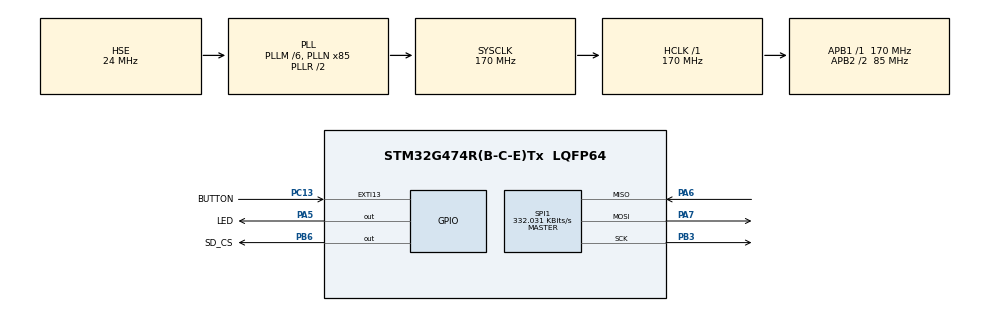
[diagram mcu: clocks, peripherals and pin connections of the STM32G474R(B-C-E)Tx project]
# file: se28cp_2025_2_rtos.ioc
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Dma.Request0=SPI1_RX
Dma.Request1=SPI1_TX
Dma.SPI1_RX.0.Direction=DMA_PERIPH_TO_MEMORY
Dma.SPI1_RX.0.EventEnable=DISABLE
Dma.SPI1_RX.0.Instance=DMA1_Channel1
Dma.SPI1_RX.0.MemDataAlignment=DMA_MDATAALIGN_BYTE
Dma.SPI1_RX.0.MemInc=DMA_MINC_ENABLE
Dma.SPI1_RX.0.Mode=DMA_NORMAL
Dma.SPI1_RX.0.PeriphDataAlignment=DMA_PDATAALIGN_BYTE
Dma.SPI1_RX.0.PeriphInc=DMA_PINC_DISABLE
Dma.SPI1_RX.0.Polarity=HAL_DMAMUX_REQ_GEN_RISING
Dma.SPI1_RX.0.Priority=DMA_PRIORITY_LOW
Dma.SPI1_RX.0.RequestNumber=1
Dma.SPI1_RX.0.SignalID=NONE
Dma.SPI1_RX.0.SyncEnable=DISABLE
Dma.SPI1_RX.0.SyncPolarity=HAL_DMAMUX_SYNC_NO_EVENT
Dma.SPI1_RX.0.SyncRequestNumber=1
Dma.SPI1_RX.0.SyncSignalID=NONE
Dma.SPI1_TX.1.Direction=DMA_MEMORY_TO_PERIPH
Dma.SPI1_TX.1.EventEnable=DISABLE
Dma.SPI1_TX.1.Instance=DMA1_Channel2
Dma.SPI1_TX.1.MemDataAlignment=DMA_MDATAALIGN_BYTE
Dma.SPI1_TX.1.MemInc=DMA_MINC_ENABLE
Dma.SPI1_TX.1.Mode=DMA_NORMAL
Dma.SPI1_TX.1.PeriphDataAlignment=DMA_PDATAALIGN_BYTE
Dma.SPI1_TX.1.PeriphInc=DMA_PINC_DISABLE
Dma.SPI1_TX.1.Polarity=HAL_DMAMUX_REQ_GEN_RISING
Dma.SPI1_TX.1.Priority=DMA_PRIORITY_LOW
Dma.SPI1_TX.1.RequestNumber=1
Dma.SPI1_TX.1.SignalID=NONE
Dma.SPI1_TX.1.SyncEnable=DISABLE
Dma.SPI1_TX.1.SyncPolarity=HAL_DMAMUX_SYNC_NO_EVENT
Dma.SPI1_TX.1.SyncRequestNumber=1
Dma.SPI1_TX.1.SyncSignalID=NONE
FREERTOS.INCLUDE_vTaskDelayUntil=1
FREERTOS.Tasks01=defaultTask,0,128,StartDefaultTask,Default,NULL,Dynamic,NULL,NULL
FREERTOS.configENABLE_FPU=1
FREERTOS.configGENERATE_RUN_TIME_STATS=1
FREERTOS.configMAX_PRIORITIES=32
FREERTOS.configTOTAL_HEAP_SIZE=32768
FREERTOS.configUSE_COUNTING_SEMAPHORES=1
FREERTOS.configUSE_NEWLIB_REENTRANT=1
FREERTOS.configUSE_STATS_FORMATTING_FUNCTIONS=1
FREERTOS.configUSE_TIMERS=1
FREERTOS.configUSE_TRACE_FACILITY=1
Mcu.Family=STM32G4
Mcu.Name=STM32G474R(B-C-E)Tx
Mcu.Package=LQFP64
NVIC.DMA1_Channel1_IRQn=true\:5\:0\:false\:false\:true\:true\:false\:true\:true
NVIC.DMA1_Channel2_IRQn=true\:5\:0\:false\:false\:true\:true\:false\:true\:true
NVIC.EXTI15_10_IRQn=true\:5\:0\:false\:false\:true\:true\:true\:true\:true
NVIC.PriorityGroup=NVIC_PRIORITYGROUP_4
NVIC.TIM20_UP_IRQn=true\:15\:0\:false\:false\:true\:false\:false\:true\:true
NVIC.TIM2_IRQn=true\:5\:0\:false\:false\:true\:true\:true\:true\:true
NVIC.TimeBase=TIM20_UP_IRQn
NVIC.TimeBaseIP=TIM20
PA13.Mode=Serial_Wire
PA13.Signal=SYS_JTMS-SWDIO
PA14.Mode=Serial_Wire
PA14.Signal=SYS_JTCK-SWCLK
PA5.GPIO_Label=LED
PA5.Signal=GPIO_Output
PA6.GPIO_PuPd=GPIO_PULLUP
PA6.Mode=Full_Duplex_Master
PA6.Signal=SPI1_MISO
PA7.GPIO_PuPd=GPIO_PULLUP
PA7.Mode=Full_Duplex_Master
PA7.Signal=SPI1_MOSI
PB3.GPIO_PuPd=GPIO_PULLUP
PB3.Mode=Full_Duplex_Master
PB3.Signal=SPI1_SCK
PB6.GPIO_Label=SD_CS
PB6.GPIO_PuPd=GPIO_PULLUP
PB6.Signal=GPIO_Output
PC13.GPIO_Label=BUTTON
PC13.GPIO_ModeDefaultEXTI=GPIO_MODE_IT_RISING
PC13.GPIO_PuPd=GPIO_PULLDOWN
PC13.Signal=GPXTI13
PF0-OSC_IN.Mode=HSE-External-Oscillator
PF0-OSC_IN.Signal=RCC_OSC_IN
PF1-OSC_OUT.Mode=HSE-External-Oscillator
PF1-OSC_OUT.Signal=RCC_OSC_OUT
ProjectManager.HeapSize=0x200
ProjectManager.StackSize=0x400
ProjectManager.TargetToolchain=STM32CubeIDE
RCC.ADC12Freq_Value=170000000
RCC.ADC345Freq_Value=170000000
RCC.AHBFreq_Value=170000000
RCC.APB1Freq_Value=170000000
RCC.APB1TimFreq_Value=170000000
RCC.APB2CLKDivider=RCC_HCLK_DIV2
RCC.APB2Freq_Value=85000000
RCC.APB2TimFreq_Value=170000000
RCC.CortexFreq_Value=170000000
RCC.EXTERNAL_CLOCK_VALUE=12288000
RCC.HCLKFreq_Value=170000000
RCC.HSE_VALUE=24000000
RCC.HSI48_VALUE=48000000
RCC.HSI_VALUE=16000000
RCC.LSE_VALUE=32768
RCC.PLLM=RCC_PLLM_DIV6
RCC.PLLN=85
RCC.PLLSourceVirtual=RCC_PLLSOURCE_HSE
RCC.SYSCLKFreq_VALUE=170000000
RCC.SYSCLKSource=RCC_SYSCLKSOURCE_PLLCLK
RCC.USBFreq_Value=170000000
RCC.VCOOutputFreq_Value=340000000
SPI1.BaudRatePrescaler=SPI_BAUDRATEPRESCALER_256
SPI1.CalculateBaudRate=332.031 KBits/s
SPI1.DataSize=SPI_DATASIZE_8BIT
SPI1.Direction=SPI_DIRECTION_2LINES
SPI1.Mode=SPI_MODE_MASTER
SPI1.VirtualType=VM_MASTER
TIM2.AutoReloadPreload=TIM_AUTORELOAD_PRELOAD_ENABLE
TIM2.PeriodNoDither=16999
VP_FATFS_VS_Generic.Mode=User_defined
VP_FREERTOS_VS_CMSIS_V1.Mode=CMSIS_V1
VP_SYS_VS_DBSignals.Mode=DisableDeadBatterySignals
VP_SYS_VS_tim20.Mode=TIM20
VP_TIM2_VS_ClockSourceINT.Mode=Internal
board=custom

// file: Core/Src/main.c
/* USER CODE BEGIN Header */
/**
  ******************************************************************************
  * @file           : main.c
  * @brief          : Main program body
  ******************************************************************************
  * @attention
  *
  * Copyright (c) 2025 STMicroelectronics.
  * All rights reserved.
  *
  * This software is licensed under terms that can be found in the LICENSE file
  * in the root directory of this software component.
  * If no LICENSE file comes with this software, it is provided AS-IS.
  *
  ******************************************************************************
  */
/* USER CODE END Header */
#include "main.h"
#include "cmsis_os.h"
#include "app_fatfs.h"

/* USER CODE BEGIN Includes */
#include <string.h>
#include "FreeRTOS_CLI.h"
#include "FreeRTOS_IO.h"
/* USER CODE END Includes */

SPI_HandleTypeDef hspi1;
DMA_HandleTypeDef hdma_spi1_rx;
DMA_HandleTypeDef hdma_spi1_tx;

TIM_HandleTypeDef htim2;

osThreadId defaultTaskHandle;
/* USER CODE BEGIN PV */
volatile uint32_t counter = 0;
SemaphoreHandle_t sem = NULL;
//SemaphoreHandle_t sem_rx = NULL;
QueueHandle_t queue_rx;
QueueHandle_t queue_keyb;
SemaphoreHandle_t mutex = NULL;
TimerHandle_t debounce;
/* USER CODE END PV */

void SystemClock_Config(void);
static void MX_GPIO_Init(void);
static void MX_DMA_Init(void);
static void MX_SPI1_Init(void);
static void MX_TIM2_Init(void);
void StartDefaultTask(void const * argument);

/* USER CODE BEGIN 0 */
typedef struct led_t_ {
	GPIO_TypeDef 	*led_port;
	uint16_t 		led_pin;
	TickType_t 		led_toggle_time;
}led_t;

void pisca_led(void *param){
	led_t *led = (led_t *)param;
	TickType_t timer;
	while(1){
		timer = xTaskGetTickCount();
		HAL_GPIO_TogglePin(led->led_port, led->led_pin);
		vTaskDelayUntil(&timer,led->led_toggle_time);
	}
}

#if 0
void HAL_UART_TxCpltCallback(UART_HandleTypeDef *huart){
	BaseType_t pxHigherPriorityTaskWoken = pdFALSE;
	xSemaphoreGiveFromISR(sem, &pxHigherPriorityTaskWoken);
	portYIELD_FROM_ISR(pxHigherPriorityTaskWoken);
}
#endif

volatile uint32_t cnt1 = 0;
void envia_serial_1(void *param){
	char *texto = "Olá mundo da tarefa 1!\n\r";
	uint32_t len = strlen(texto);
	while(1){
		if (xSemaphoreTake(mutex, 100) == pdTRUE){
			if (HAL_UART_Transmit_IT(&hlpuart1, (uint8_t *)texto, len) == HAL_OK){
				xSemaphoreTake(sem, portMAX_DELAY);
				cnt1++;
			}
			xSemaphoreGive(mutex);
		}
		taskYIELD();
	}
}

volatile uint32_t cnt2 = 0;
void envia_serial_2(void *param){
	char *texto = "Olá mundo da tarefa 2!\n\r";
	uint32_t len = strlen(texto);
	while(1){
		if (xSemaphoreTake(mutex, 100) == pdTRUE){
			if (HAL_UART_Transmit_IT(&hlpuart1, (uint8_t *)texto, len) == HAL_OK){
				xSemaphoreTake(sem, portMAX_DELAY);
				cnt2++;
			}
			xSemaphoreGive(mutex);
		}
		taskYIELD();
	}
}

void transmite_uart(uint8_t *string, uint32_t len){
	if (xSemaphoreTake(mutex, 100) == pdTRUE){
		if (HAL_UART_Transmit_IT(&hlpuart1, string, len) == HAL_OK){
			xSemaphoreTake(sem, portMAX_DELAY);
		}
		xSemaphoreGive(mutex);
	}
}

#if 0
void HAL_UART_RxCpltCallback(UART_HandleTypeDef *huart){
	BaseType_t pxHigherPriorityTaskWoken = pdFALSE;
	xQueueSendToBackFromISR(queue_rx, huart->pRxBuffPtr, &pxHigherPriorityTaskWoken);
	portYIELD_FROM_ISR(pxHigherPriorityTaskWoken);
}
#endif

void receive_uart(uint8_t *data){
	xQueueReceive(queue_rx, data, portMAX_DELAY);
}

static BaseType_t prvTaskStatsCommand( char *pcWriteBuffer,
                                          size_t xWriteBufferLen,
										  const char *pcCommandString )
{
    static BaseType_t state = 0;

    if (!state){
        /* For simplicity, this function assumes the output buffer is large enough
        to hold all the text generated by executing the vTaskList() API function,
        so the xWriteBufferLen parameter is not used. */
        char *head = "Name		State  Priority  Stack  Number\n\r";
        ( void ) xWriteBufferLen;

        /* pcWriteBuffer is used directly as the vTaskList() parameter, so the table
        generated by executing vTaskList() is written directly into the output
        buffer. */
        strcpy(pcWriteBuffer, head);
        vTaskList( &pcWriteBuffer[strlen(head)]);

        /* The entire table was written directly to the output buffer.  Execution
        of this command is complete, so return pdFALSE. */
        state = 1;
        return pdTRUE;
    }else{
        state = 0;
        strcpy(pcWriteBuffer, "\n\r");
        return pdFALSE;
    }
}

static BaseType_t prvClearCommand( char *pcWriteBuffer,
                                          size_t xWriteBufferLen,
										  const char *pcCommandString )
{

	strcpy(pcWriteBuffer, "\033c");
	return false;

}

static const CLI_Command_Definition_t xClearCommand =
{
    "clear",
	"clear: Clear the console terminal\r\n\r\n",
	prvClearCommand,
    0
};

static const CLI_Command_Definition_t xTasksCommand =
{
    "tasks",
	"tasks: Lists all the installed tasks\r\n\r\n",
	prvTaskStatsCommand,
    0
};

static BaseType_t prvRunTimeStatsCommand( char *pcWriteBuffer,
                                          size_t xWriteBufferLen,
										  const char *pcCommandString )
{
    /* For simplicity, this function assumes the output buffer is large enough
    to hold all the text generated by executing the vTaskList() API function,
    so the xWriteBufferLen parameter is not used. */
	char *head = "Name		Abs Time      % Time\n\r";
    ( void ) xWriteBufferLen;

    /* pcWriteBuffer is used directly as the vTaskList() parameter, so the table
    generated by executing vTaskList() is written directly into the output
    buffer. */
    strcpy(pcWriteBuffer, head);
    vTaskGetRunTimeStats( &pcWriteBuffer[strlen(head)]);

    /* The entire table was written directly to the output buffer.  Execution
    of this command is complete, so return pdFALSE. */
    return pdFALSE;
}

static const CLI_Command_Definition_t xRunTimeCommand =
{
    "runtime",
	"runtime: Lists the tasks runtime info\r\n\r\n",
	prvRunTimeStatsCommand,
    0
};

#define MAX_INPUT_LENGTH    64
#define MAX_OUTPUT_LENGTH   512
Peripheral_Descriptor_t console_port;
static void shell_task(void *param){
	char cRxedChar;
	BaseType_t cInputIndex = 0;
	BaseType_t xMoreDataToFollow;
	/* The input and output buffers are declared static to keep them off the stack. */
	static char pcOutputString[ MAX_OUTPUT_LENGTH ], pcInputString[ MAX_INPUT_LENGTH ];

	console_port = FreeRTOS_open((const int8_t *)"/LPUART1/", 0);
	uint32_t ulBaudRate = 115200;
	FreeRTOS_ioctl(console_port, ioctlSET_SPEED, &ulBaudRate);
	uint32_t ulParity = UART_PARITY_NONE;
	FreeRTOS_ioctl(console_port, ioctlSET_UART_PARITY_MODE, &ulParity);
	uint32_t ulStopBits = UART_STOPBITS_1;
	FreeRTOS_ioctl(console_port, ioctlSET_UART_NUMBER_OF_STOP_BITS, &ulStopBits);

	FreeRTOS_CLIRegisterCommand( &xTasksCommand );
	FreeRTOS_CLIRegisterCommand( &xRunTimeCommand );
	FreeRTOS_CLIRegisterCommand( &xClearCommand );
	FreeRTOS_write(console_port, "\033cWelcome to FreeRTOS ", 20);
	FreeRTOS_write(console_port, tskKERNEL_VERSION_NUMBER, 7);
	FreeRTOS_write(console_port, "\n\r", 2);
	FreeRTOS_write(console_port, ">>", 2);

	while(1){
			/* This implementation reads a single character at a time.  Wait in the
	        Blocked state until a character is received. */
			FreeRTOS_read(console_port, &cRxedChar, 1);

	        if( cRxedChar == '\r' )
	        {
	            /* A newline character was received, so the input command string is
	            complete and can be processed.  Transmit a line separator, just to
	            make the output easier to read. */
	        	FreeRTOS_write(console_port, "\n\r", 2);

	            /* The command interpreter is called repeatedly until it returns
	            pdFALSE.  See the "Implementing a command" documentation for an
	            exaplanation of why this is. */
	        	if( cInputIndex > 0 ){
					do
					{
						/* Send the command string to the command interpreter.  Any
						output generated by the command interpreter will be placed in the
						pcOutputString buffer. */
						xMoreDataToFollow = FreeRTOS_CLIProcessCommand
									  (
										  pcInputString,   /* The command string.*/
										  pcOutputString,  /* The output buffer. */
										  MAX_OUTPUT_LENGTH/* The size of the output buffer. */
									  );

						/* Write the output generated by the command interpreter to the
						console. */
						FreeRTOS_write(console_port, pcOutputString, 0);

					} while( xMoreDataToFollow != pdFALSE );
					FreeRTOS_write(console_port, ">>", 2);

					/* All the strings generated by the input command have been sent.
					Processing of the command is complete.  Clear the input string ready
					to receive the next command. */
					cInputIndex = 0;
					memset( pcInputString, 0x00, MAX_INPUT_LENGTH );
	        	}else{
	        		FreeRTOS_write(console_port, ">>", 2);
	        	}
	        }
	        else
	        {
	            /* The if() clause performs the processing after a newline character
	            is received.  This else clause performs the processing if any other
	            character is received. */

	            if( cRxedChar == '\n' )
	            {
	                /* Ignore carriage returns. */
	            }
	            //else if( cRxedChar == '\b' )
	            else if( cRxedChar == 0x7F )
	            {
	                /* Backspace was pressed.  Erase the last character in the input
	                buffer - if there are any. */
	                if( cInputIndex > 0 )
	                {
	                    cInputIndex--;
	                    pcInputString[ cInputIndex ] = (char)'\0';
	                    FreeRTOS_write(console_port, &cRxedChar, 1);
	                }
	            }
	            else
	            {
	                /* A character was entered.  It was not a new line, backspace
	                or carriage return, so it is accepted as part of the input and
	                placed into the input buffer.  When a \n is entered the complete
	                string will be passed to the command interpreter. */
	                if( cInputIndex < MAX_INPUT_LENGTH )
	                {
	                    pcInputString[ cInputIndex ] = cRxedChar;
	                    cInputIndex++;
	                }
	                FreeRTOS_write(console_port, &cRxedChar, 1);
	            }
	        }
	}
}

#if 1
void read_file(FATFS *fs, char *filename){
	uint32_t  p1, p2, s2;
	uint16_t  cnt = 0;
	// Read/Write Buffer
	uint8_t   	read_buffer[512];
	char 		print_buffer[128];
	FIL file;

	if (f_open(&file, (char*)filename, 	FA_READ) == FR_OK)
	{
		FreeRTOS_write(console_port, "\n\r", 2);

		p2 = 0;
		TickType_t start = xTaskGetTickCount();
		p1 = f_size(&file);

		while (p1)
		{
			if (p1 >= sizeof(read_buffer))
			{
			  cnt = sizeof(read_buffer);
			  p1 -= sizeof(read_buffer);
			}
			else
			{
			  cnt = (uint16_t)p1;
			  p1 = 0;
			}
			if (f_read(&file, (char*)read_buffer, cnt, (UINT*)&s2) != FR_OK)
			{
			  break;
			}else
			{
			p2 += s2;
			if (cnt != s2) break;

			read_buffer[cnt]=0;
			//FreeRTOS_write(console_port, read_buffer, cnt);
		 }
		}
		FreeRTOS_write(console_port, "\n\r", 2);

		TickType_t stop = xTaskGetTickCount();
		f_close(&file);

		int len = sprintf(print_buffer, "\n\r%lu bytes read with %lu bytes/sec.\n\r", p2, stop ? (p2 * 1000 / (stop - start)) : 0);
		FreeRTOS_write(console_port, print_buffer, len);
		FreeRTOS_write(console_port, "\n\r", 2);
	}
}

void list_files(FATFS *fs, char *pname1){
	FRESULT f_res;
	// File Info object
	FILINFO finfo;
	// Directory object
	DIR     dir;
	char buffer[384];
	uint32_t  p1, s1, s2;
	char   *ptr;
	FreeRTOS_write(console_port, "\n\r", 2);
	if (*pname1 == 0)
	{
	  ptr = ".";
	}else
	{
	  ptr = (char*)pname1;
	}
	p1 = s1 = s2 = 0;
	f_res = f_opendir(&dir, ptr);

	if (!f_res)
	{
		for(;;)
		{
			f_res = f_readdir(&dir, &finfo);
			if ((f_res != FR_OK) || !finfo.fname[0]) break;
			if (finfo.fattrib & AM_DIR)
			{
				s2++;
			} else
			{
				s1++;
				p1 += finfo.fsize;
			}
			int len = sprintf(buffer, "%c%c%c%c%c %u/%02u/%02u %02u:%02u %9lu  %s\n\r",
					(finfo.fattrib & AM_DIR) ? 'D' : '-',
					(finfo.fattrib & AM_RDO) ? 'R' : '-',
					(finfo.fattrib & AM_HID) ? 'H' : '-',
					(finfo.fattrib & AM_SYS) ? 'S' : '-',
					(finfo.fattrib & AM_ARC) ? 'A' : '-',
					(finfo.fdate >> 9) + 1980, (finfo.fdate >> 5) & 15, finfo.fdate & 31,
					(finfo.ftime >> 11), (finfo.ftime >> 5) & 63,
					finfo.fsize, &(finfo.fname[0]));
			FreeRTOS_write(console_port, buffer, len);

		  finfo.fname[0] = 0;
		}
	}

	int len = sprintf(buffer, "%4lu File(s), %lu bytes total \n\r%4lu Dir(s)", s1, p1, s2);
	FreeRTOS_write(console_port, buffer, len);
	if (f_getfree(ptr, (DWORD*)&p1, &fs) == FR_OK)
	{
		len = sprintf(buffer, ", %lu bytes free \n\r\n\r", p1 * fs->csize * 512);
		FreeRTOS_write(console_port, buffer, len);
	}
}
#endif

void sd_card_task(void *param){
	FATFS filesystem;
	FIL file;
	FRESULT fres;
	char buffer[128];

	fres = f_mount(&filesystem, USERPath, 1);

	if (fres != FR_OK) {
		sprintf(buffer, "f_mount error (%i)\r\n", fres);
		FreeRTOS_write(console_port, buffer, 0);
		vTaskSuspend(NULL);
	}

	list_files(&filesystem, "0:/");

	read_file(&filesystem, "test.txt");

	//We're done, so de-mount the drive
	f_mount(NULL, USERPath, 0);

	while(1){
		vTaskDelay(1000);
	}
}

void echo(void *param){
	uint8_t data;
	uint8_t data_rx;
	HAL_UART_Receive_IT(&hlpuart1, &data, 1);
	while(1){
		receive_uart(&data_rx);
		if (data_rx == '\r'){
			transmite_uart(&data_rx, 1);
			data_rx = '\n';
			transmite_uart(&data_rx, 1);
		}else{
			transmite_uart(&data_rx, 1);
		}
	}
}

void HAL_GPIO_EXTI_Callback(uint16_t GPIO_Pin){
	BaseType_t pxHigherPriorityTaskWoken = pdFALSE;
	HAL_NVIC_DisableIRQ(EXTI15_10_IRQn);
	xTimerStartFromISR(debounce, &pxHigherPriorityTaskWoken);
	portYIELD_FROM_ISR(pxHigherPriorityTaskWoken);
}

volatile uint32_t cnt3 = 0;
static void sobra_cpu(void *param){
	uint32_t teste = 0;
	while(1){
		cnt3++;
		for (int i=0; i<1024;i++){
			teste = teste ^ 0xF3;
		}
	}
}

typedef enum button_codes_t_ {
	BUTTON_1 = 1,
	BUTTON_2,
	BUTTON_3
}button_codes_t;

void debounce_callback( TimerHandle_t xTimer ){
	uint8_t buffer = BUTTON_1;
	xQueueSendToBack(queue_keyb, &buffer, 0);
	HAL_NVIC_EnableIRQ(EXTI15_10_IRQn);
}
/* USER CODE END 0 */

int main(void)
{

  /* MCU Configuration--------------------------------------------------------*/

  /* Reset of all peripherals, Initializes the Flash interface and the Systick. */
  HAL_Init();

  /* Configure the system clock */
  SystemClock_Config();

  /* Initialize all configured peripherals */
  MX_GPIO_Init();
  MX_DMA_Init();
  MX_SPI1_Init();
  if (MX_FATFS_Init() != APP_OK) {
    Error_Handler();
  }
  MX_TIM2_Init();

  /* USER CODE BEGIN RTOS_MUTEX */
  /* add mutexes, ... */
  mutex = xSemaphoreCreateMutex();
  /* USER CODE END RTOS_MUTEX */

  /* USER CODE BEGIN RTOS_SEMAPHORES */
  /* add semaphores, ... */
  sem = xSemaphoreCreateBinary();
  //sem_rx = xSemaphoreCreateBinary();
  /* USER CODE END RTOS_SEMAPHORES */

  /* USER CODE BEGIN RTOS_TIMERS */
  /* start timers, add new ones, ... */
  debounce = xTimerCreate("debounce do teclado", 50, pdFALSE, NULL, debounce_callback);
  /* USER CODE END RTOS_TIMERS */

  /* USER CODE BEGIN RTOS_QUEUES */
  /* add queues, ... */
  queue_rx = xQueueCreate(16, sizeof(uint8_t));
  queue_keyb = xQueueCreate(16, sizeof(char));
  /* USER CODE END RTOS_QUEUES */

  /* Create the thread(s) */
  /* definition and creation of defaultTask */
  osThreadDef(defaultTask, StartDefaultTask, osPriorityNormal, 0, 128);
  defaultTaskHandle = osThreadCreate(osThread(defaultTask), NULL);

  /* USER CODE BEGIN RTOS_THREADS */
  /* add threads, ... */
  static led_t led_verde = {LED_GPIO_Port, LED_Pin, 500};
  //led_t led_azul = {LED_GPIO_Port, LED_Pin, 200};
  xTaskCreate(pisca_led, "Tarefa teste", 256, &led_verde, 3, NULL);

  //xTaskCreate(envia_serial_1, "serial 1", 256, NULL, 3, NULL);
  //xTaskCreate(envia_serial_2, "serial 2", 256, NULL, 3, NULL);
  xTaskCreate(shell_task, "shell task", 256, NULL, 4, NULL);
  xTaskCreate(sd_card_task, "SD card task", 2048, NULL, 2, NULL);
  xTaskCreate(sobra_cpu, "sobra", 256, NULL, 1, NULL);
  /* USER CODE END RTOS_THREADS */

  /* Start scheduler */
  osKernelStart();

  /* We should never get here as control is now taken by the scheduler */

  /* Infinite loop */
  while (1)
  {

  }
}

void SystemClock_Config(void)
{
  RCC_OscInitTypeDef RCC_OscInitStruct = {0};
  RCC_ClkInitTypeDef RCC_ClkInitStruct = {0};

  /** Configure the main internal regulator output voltage
  */
  HAL_PWREx_ControlVoltageScaling(PWR_REGULATOR_VOLTAGE_SCALE1_BOOST);

  /** Initializes the RCC Oscillators according to the specified parameters
  * in the RCC_OscInitTypeDef structure.
  */
  RCC_OscInitStruct.OscillatorType = RCC_OSCILLATORTYPE_HSE;
  RCC_OscInitStruct.HSEState = RCC_HSE_ON;
  RCC_OscInitStruct.PLL.PLLState = RCC_PLL_ON;
  RCC_OscInitStruct.PLL.PLLSource = RCC_PLLSOURCE_HSE;
  RCC_OscInitStruct.PLL.PLLM = RCC_PLLM_DIV6;
  RCC_OscInitStruct.PLL.PLLN = 85;
  RCC_OscInitStruct.PLL.PLLP = RCC_PLLP_DIV2;
  RCC_OscInitStruct.PLL.PLLQ = RCC_PLLQ_DIV2;
  RCC_OscInitStruct.PLL.PLLR = RCC_PLLR_DIV2;
  if (HAL_RCC_OscConfig(&RCC_OscInitStruct) != HAL_OK)
  {
    Error_Handler();
  }

  /** Initializes the CPU, AHB and APB buses clocks
  */
  RCC_ClkInitStruct.ClockType = RCC_CLOCKTYPE_HCLK|RCC_CLOCKTYPE_SYSCLK
                              |RCC_CLOCKTYPE_PCLK1|RCC_CLOCKTYPE_PCLK2;
  RCC_ClkInitStruct.SYSCLKSource = RCC_SYSCLKSOURCE_PLLCLK;
  RCC_ClkInitStruct.AHBCLKDivider = RCC_SYSCLK_DIV1;
  RCC_ClkInitStruct.APB1CLKDivider = RCC_HCLK_DIV1;
  RCC_ClkInitStruct.APB2CLKDivider = RCC_HCLK_DIV2;

  if (HAL_RCC_ClockConfig(&RCC_ClkInitStruct, FLASH_LATENCY_4) != HAL_OK)
  {
    Error_Handler();
  }
}

static void MX_SPI1_Init(void)
{

  /* SPI1 parameter configuration*/
  hspi1.Instance = SPI1;
  hspi1.Init.Mode = SPI_MODE_MASTER;
  hspi1.Init.Direction = SPI_DIRECTION_2LINES;
  hspi1.Init.DataSize = SPI_DATASIZE_8BIT;
  hspi1.Init.CLKPolarity = SPI_POLARITY_LOW;
  hspi1.Init.CLKPhase = SPI_PHASE_1EDGE;
  hspi1.Init.NSS = SPI_NSS_SOFT;
  hspi1.Init.BaudRatePrescaler = SPI_BAUDRATEPRESCALER_256;
  hspi1.Init.FirstBit = SPI_FIRSTBIT_MSB;
  hspi1.Init.TIMode = SPI_TIMODE_DISABLE;
  hspi1.Init.CRCCalculation = SPI_CRCCALCULATION_DISABLE;
  hspi1.Init.CRCPolynomial = 7;
  hspi1.Init.CRCLength = SPI_CRC_LENGTH_DATASIZE;
  hspi1.Init.NSSPMode = SPI_NSS_PULSE_ENABLE;
  if (HAL_SPI_Init(&hspi1) != HAL_OK)
  {
    Error_Handler();
  }

}

static void MX_TIM2_Init(void)
{

  TIM_ClockConfigTypeDef sClockSourceConfig = {0};
  TIM_MasterConfigTypeDef sMasterConfig = {0};

  htim2.Instance = TIM2;
  htim2.Init.Prescaler = 0;
  htim2.Init.CounterMode = TIM_COUNTERMODE_UP;
  htim2.Init.Period = 16999;
  htim2.Init.ClockDivision = TIM_CLOCKDIVISION_DIV1;
  htim2.Init.AutoReloadPreload = TIM_AUTORELOAD_PRELOAD_ENABLE;
  if (HAL_TIM_Base_Init(&htim2) != HAL_OK)
  {
    Error_Handler();
  }
  sClockSourceConfig.ClockSource = TIM_CLOCKSOURCE_INTERNAL;
  if (HAL_TIM_ConfigClockSource(&htim2, &sClockSourceConfig) != HAL_OK)
  {
    Error_Handler();
  }
  sMasterConfig.MasterOutputTrigger = TIM_TRGO_RESET;
  sMasterConfig.MasterSlaveMode = TIM_MASTERSLAVEMODE_DISABLE;
  if (HAL_TIMEx_MasterConfigSynchronization(&htim2, &sMasterConfig) != HAL_OK)
  {
    Error_Handler();
  }

}

static void MX_DMA_Init(void)
{

  /* DMA controller clock enable */
  __HAL_RCC_DMAMUX1_CLK_ENABLE();
  __HAL_RCC_DMA1_CLK_ENABLE();

  /* DMA interrupt init */
  /* DMA1_Channel1_IRQn interrupt configuration */
  HAL_NVIC_SetPriority(DMA1_Channel1_IRQn, 5, 0);
  HAL_NVIC_EnableIRQ(DMA1_Channel1_IRQn);
  /* DMA1_Channel2_IRQn interrupt configuration */
  HAL_NVIC_SetPriority(DMA1_Channel2_IRQn, 5, 0);
  HAL_NVIC_EnableIRQ(DMA1_Channel2_IRQn);

}

static void MX_GPIO_Init(void)
{
  GPIO_InitTypeDef GPIO_InitStruct = {0};

  /* GPIO Ports Clock Enable */
  __HAL_RCC_GPIOC_CLK_ENABLE();
  __HAL_RCC_GPIOF_CLK_ENABLE();
  __HAL_RCC_GPIOA_CLK_ENABLE();
  __HAL_RCC_GPIOB_CLK_ENABLE();

  /*Configure GPIO pin Output Level */
  HAL_GPIO_WritePin(LED_GPIO_Port, LED_Pin, GPIO_PIN_RESET);

  /*Configure GPIO pin Output Level */
  HAL_GPIO_WritePin(SD_CS_GPIO_Port, SD_CS_Pin, GPIO_PIN_RESET);

  /*Configure GPIO pin : BUTTON_Pin */
  GPIO_InitStruct.Pin = BUTTON_Pin;
  GPIO_InitStruct.Mode = GPIO_MODE_IT_RISING;
  GPIO_InitStruct.Pull = GPIO_PULLDOWN;
  HAL_GPIO_Init(BUTTON_GPIO_Port, &GPIO_InitStruct);

  /*Configure GPIO pin : LED_Pin */
  GPIO_InitStruct.Pin = LED_Pin;
  GPIO_InitStruct.Mode = GPIO_MODE_OUTPUT_PP;
  GPIO_InitStruct.Pull = GPIO_NOPULL;
  GPIO_InitStruct.Speed = GPIO_SPEED_FREQ_LOW;
  HAL_GPIO_Init(LED_GPIO_Port, &GPIO_InitStruct);

  /*Configure GPIO pin : SD_CS_Pin */
  GPIO_InitStruct.Pin = SD_CS_Pin;
  GPIO_InitStruct.Mode = GPIO_MODE_OUTPUT_PP;
  GPIO_InitStruct.Pull = GPIO_PULLUP;
  GPIO_InitStruct.Speed = GPIO_SPEED_FREQ_LOW;
  HAL_GPIO_Init(SD_CS_GPIO_Port, &GPIO_InitStruct);

  /* EXTI interrupt init*/
  HAL_NVIC_SetPriority(EXTI15_10_IRQn, 5, 0);
  HAL_NVIC_EnableIRQ(EXTI15_10_IRQn);

}

/* USER CODE BEGIN 4 */
extern unsigned int ulHighFrequencyTimerTicks;
/* USER CODE END 4 */

void StartDefaultTask(void const * argument)
{
  for(;;)
  {
    osDelay(1);
  }
}

void HAL_TIM_PeriodElapsedCallback(TIM_HandleTypeDef *htim)
{
  /* USER CODE BEGIN Callback 0 */
  counter++;
  if (counter >= 1000){
	  counter = 0;
  }
  /* USER CODE END Callback 0 */
  if (htim->Instance == TIM20)
  {
    HAL_IncTick();
  }
  /* USER CODE BEGIN Callback 1 */
  if (htim->Instance == TIM2)
  {
	  ulHighFrequencyTimerTicks++;
  }
  /* USER CODE END Callback 1 */
}

void Error_Handler(void)
{
  __disable_irq();
  while (1)
  {
  }
}

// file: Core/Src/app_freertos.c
/* USER CODE BEGIN Header */
/**
  ******************************************************************************
  * File Name          : app_freertos.c
  * Description        : Code for freertos applications
  ******************************************************************************
  * @attention
  *
  * Copyright (c) 2025 STMicroelectronics.
  * All rights reserved.
  *
  * This software is licensed under terms that can be found in the LICENSE file
  * in the root directory of this software component.
  * If no LICENSE file comes with this software, it is provided AS-IS.
  *
  ******************************************************************************
  */
/* USER CODE END Header */

#include "FreeRTOS.h"
#include "task.h"
#include "main.h"

/* Hook prototypes */
void configureTimerForRunTimeStats(void);
unsigned long getRunTimeCounterValue(void);

/* USER CODE BEGIN 1 */
/* Functions needed when configGENERATE_RUN_TIME_STATS is on */
extern TIM_HandleTypeDef htim2;
void configureTimerForRunTimeStats(void)
{
	HAL_TIM_Base_Start_IT(&htim2);
}

unsigned int ulHighFrequencyTimerTicks = 0;
unsigned long getRunTimeCounterValue(void){
	return ulHighFrequencyTimerTicks;
}
/* USER CODE END 1 */
